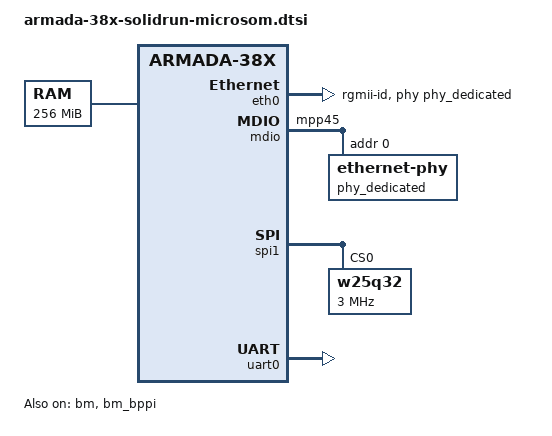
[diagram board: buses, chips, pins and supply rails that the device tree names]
// SPDX-License-Identifier: (GPL-2.0 OR MIT)
/*
 * Device Tree file for SolidRun Armada 38x Microsom
 *
 *  Copyright (C) 2015 Russell King
 */
#include <dt-bindings/input/input.h>
#include <dt-bindings/gpio/gpio.h>

/ {
	memory {
		device_type = "memory";
		reg = <0x00000000 0x10000000>; /* 256 MB */
	};

	soc {
		ranges = <MBUS_ID(0xf0, 0x01) 0 0xf1000000 0x100000
			  MBUS_ID(0x01, 0x1d) 0 0xfff00000 0x100000
			  MBUS_ID(0x09, 0x19) 0 0xf1100000 0x10000
			  MBUS_ID(0x09, 0x15) 0 0xf1110000 0x10000
			  MBUS_ID(0x0c, 0x04) 0 0xf1200000 0x100000>;

		internal-regs {
			rtc@a3800 {
				/*
				 * If the rtc doesn't work, run "date reset"
				 * twice in u-boot.
				 */
				status = "okay";
			};
		};
	};
};

&bm {
	status = "okay";
};

&bm_bppi {
	status = "okay";
};

&eth0 {
	/* ethernet@70000 */
	pinctrl-0 = <&ge0_rgmii_pins>;
	pinctrl-names = "default";
	phy = <&phy_dedicated>;
	phy-mode = "rgmii-id";
	buffer-manager = <&bm>;
	bm,pool-long = <0>;
	bm,pool-short = <1>;
	status = "okay";
};

&mdio {
	/*
	 * Add the phy clock here, so the phy can be accessed to read its
	 * IDs prior to binding with the driver.
	 */
	pinctrl-0 = <&mdio_pins &microsom_phy_clk_pins>;
	pinctrl-names = "default";

	phy_dedicated: ethernet-phy@0 {
		/*
		 * Annoyingly, the marvell phy driver configures the LED
		 * register, rather than preserving reset-loaded setting.
		 * We undo that rubbish here.
		 */
		marvell,reg-init = <3 16 0 0x101e>;
		reg = <0>;
	};
};

&pinctrl {
	microsom_phy_clk_pins: microsom-phy-clk-pins {
		marvell,pins = "mpp45";
		marvell,function = "ref";
	};
	/* Optional eMMC */
	microsom_sdhci_pins: microsom-sdhci-pins {
		marvell,pins = "mpp21", "mpp28", "mpp37",
			       "mpp38", "mpp39", "mpp40";
		marvell,function = "sd0";
	};
};

&spi1 {
	/* The microsom has an optional W25Q32 on board, connected to CS0 */
	pinctrl-0 = <&spi1_pins>;

	w25q32: spi-flash@0 {
		#address-cells = <1>;
		#size-cells = <1>;
		compatible = "w25q32", "jedec,spi-nor";
		reg = <0>; /* Chip select 0 */
		spi-max-frequency = <3000000>;
	};
};

&uart0 {
	pinctrl-0 = <&uart0_pins>;
	pinctrl-names = "default";
	status = "okay";
};
